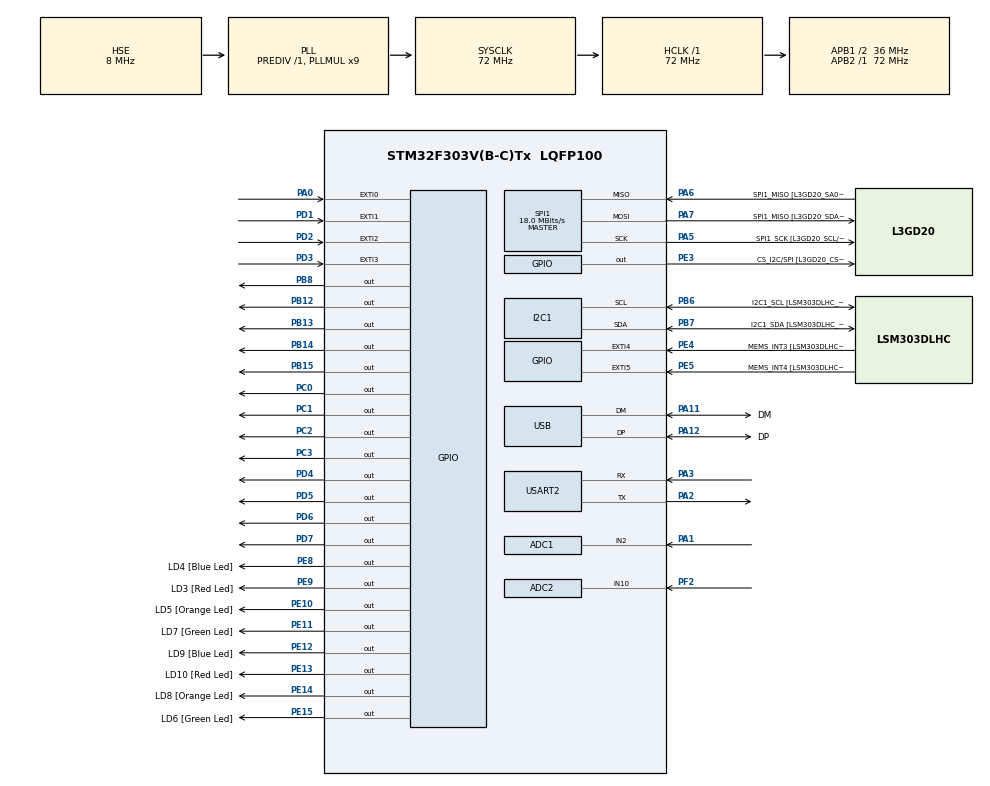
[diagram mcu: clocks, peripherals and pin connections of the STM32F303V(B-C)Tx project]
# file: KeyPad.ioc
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ADC1.Channel-0\#ChannelRegularConversion=ADC_CHANNEL_2
ADC1.ClockPrescaler=ADC_CLOCK_ASYNC_DIV1
ADC1.ContinuousConvMode=DISABLE
ADC1.DMAContinuousRequests=DISABLE
ADC1.DataAlign=ADC_DATAALIGN_RIGHT
ADC1.DiscontinuousConvMode=DISABLE
ADC1.EOCSelection=ADC_EOC_SINGLE_CONV
ADC1.EnableAnalogWatchDog1=false
ADC1.EnableAnalogWatchDog2=false
ADC1.EnableAnalogWatchDog3=false
ADC1.EnableInjectedConversion=ENABLE
ADC1.EnableRegularConversion=ENABLE
ADC1.ExternalTrigConv=ADC_SOFTWARE_START
ADC1.ExternalTrigConvEdge=ADC_EXTERNALTRIGCONVEDGE_NONE
ADC1.InjNumberOfConversion=0
ADC1.LowPowerAutoWait=DISABLE
ADC1.NbrOfConversion=1
ADC1.NbrOfConversionFlag=1
ADC1.Offset-0\#ChannelRegularConversion=0
ADC1.OffsetNumber-0\#ChannelRegularConversion=ADC_OFFSET_NONE
ADC1.Overrun=ADC_OVR_DATA_OVERWRITTEN
ADC1.Rank-0\#ChannelRegularConversion=1
ADC1.Resolution=ADC_RESOLUTION_6B
ADC1.SamplingTime-0\#ChannelRegularConversion=ADC_SAMPLETIME_601CYCLES_5
ADC1.ScanConvMode=ADC_SCAN_DISABLE
ADC1.master=1
ADC2.Channel-0\#ChannelRegularConversion=ADC_CHANNEL_10
ADC2.NbrOfConversionFlag=1
ADC2.Offset-0\#ChannelRegularConversion=0
ADC2.OffsetNumber-0\#ChannelRegularConversion=ADC_OFFSET_NONE
ADC2.Rank-0\#ChannelRegularConversion=1
ADC2.SamplingTime-0\#ChannelRegularConversion=ADC_SAMPLETIME_1CYCLE_5
I2C1.Timing-I2C=0x2000090E
Mcu.Family=STM32F3
Mcu.Name=STM32F303V(B-C)Tx
Mcu.Package=LQFP100
NVIC.EXTI0_IRQn=true\:2\:1\:true\:false\:true\:true
NVIC.EXTI1_IRQn=true\:2\:1\:true\:false\:true\:true
NVIC.EXTI2_TSC_IRQn=true\:2\:1\:true\:false\:true\:true
NVIC.EXTI3_IRQn=true\:2\:1\:true\:false\:true\:true
NVIC.PriorityGroup=NVIC_PRIORITYGROUP_2
NVIC.TIM2_IRQn=true\:2\:2\:true\:false\:true\:true
NVIC.TIM4_IRQn=true\:1\:0\:true\:false\:true\:true
NVIC.USART2_IRQn=true\:0\:0\:true\:false\:true\:true
PA0.GPIO_PuPd=GPIO_PULLDOWN
PA0.Signal=GPXTI0
PA1.Mode=IN2-Single-Ended
PA1.Signal=ADC1_IN2
PA11.GPIO_Label=DM
PA11.Mode=Device
PA11.Signal=USB_DM
PA12.GPIO_Label=DP
PA12.Mode=Device
PA12.Signal=USB_DP
PA13.GPIO_Label=SWDIO
PA13.Mode=Serial_Wire
PA13.Signal=SYS_JTMS-SWDIO
PA14.GPIO_Label=SWCLK
PA14.Mode=Serial_Wire
PA14.Signal=SYS_JTCK-SWCLK
PA2.Mode=Asynchronous
PA2.Signal=USART2_TX
PA3.Mode=Asynchronous
PA3.Signal=USART2_RX
PA5.GPIO_Label=SPI1_SCK [L3GD20_SCL/SPC]
PA5.Mode=Full_Duplex_Master
PA5.Signal=SPI1_SCK
PA6.GPIO_Label=SPI1_MISO [L3GD20_SA0/SDO]
PA6.Mode=Full_Duplex_Master
PA6.Signal=SPI1_MISO
PA7.GPIO_Label=SPI1_MISO [L3GD20_SDA/SDI/SDO]
PA7.Mode=Full_Duplex_Master
PA7.Signal=SPI1_MOSI
PB12.Signal=GPIO_Output
PB13.Signal=GPIO_Output
PB14.Signal=GPIO_Output
PB15.Signal=GPIO_Output
PB3.GPIO_Label=SWO
PB3.Signal=SYS_JTDO-TRACESWO
PB6.GPIO_Label=I2C1_SCL [LSM303DLHC_SCL]
PB6.Mode=I2C
PB6.Signal=I2C1_SCL
PB7.GPIO_Label=I2C1_SDA [LSM303DLHC_SDA]
PB7.Mode=I2C
PB7.Signal=I2C1_SDA
PB8.Signal=GPIO_Output
PC0.Signal=GPIO_Output
PC1.Signal=GPIO_Output
PC14-OSC32_IN.GPIO_Label=OSC32_IN
PC14-OSC32_IN.Signal=RCC_OSC32_IN
PC15-OSC32_OUT.GPIO_Label=OSC32_OUT
PC15-OSC32_OUT.Signal=RCC_OSC32_OUT
PC2.Signal=GPIO_Output
PC3.Signal=GPIO_Output
PD1.GPIO_PuPd=GPIO_PULLDOWN
PD1.Signal=GPXTI1
PD2.GPIO_PuPd=GPIO_PULLDOWN
PD2.Signal=GPXTI2
PD3.GPIO_PuPd=GPIO_PULLDOWN
PD3.Signal=GPXTI3
PD4.GPIO_PuPd=GPIO_NOPULL
PD4.GPIO_Speed=GPIO_SPEED_FREQ_LOW
PD4.PinState=GPIO_PIN_SET
PD4.Signal=GPIO_Output
PD5.PinState=GPIO_PIN_SET
PD5.Signal=GPIO_Output
PD6.PinState=GPIO_PIN_SET
PD6.Signal=GPIO_Output
PD7.PinState=GPIO_PIN_SET
PD7.Signal=GPIO_Output
PE10.GPIO_Label=LD5 [Orange Led]
PE10.Signal=GPIO_Output
PE11.GPIO_Label=LD7 [Green Led]
PE11.Signal=GPIO_Output
PE12.GPIO_Label=LD9 [Blue Led]
PE12.Signal=GPIO_Output
PE13.GPIO_Label=LD10 [Red Led]
PE13.Signal=GPIO_Output
PE14.GPIO_Label=LD8 [Orange Led]
PE14.Signal=GPIO_Output
PE15.GPIO_Label=LD6 [Green Led]
PE15.Signal=GPIO_Output
PE3.GPIO_Label=CS_I2C/SPI [L3GD20_CS_I2C/SPI]
PE3.Signal=GPIO_Output
PE4.GPIO_Label=MEMS_INT3 [LSM303DLHC_INT1]
PE4.GPIO_ModeDefaultEXTI=GPIO_MODE_EVT_RISING
PE4.Signal=GPXTI4
PE5.GPIO_Label=MEMS_INT4 [LSM303DLHC_INT2]
PE5.GPIO_ModeDefaultEXTI=GPIO_MODE_EVT_RISING
PE5.Signal=GPXTI5
PE8.GPIO_Label=LD4 [Blue Led]
PE8.Signal=GPIO_Output
PE9.GPIO_Label=LD3 [Red Led]
PE9.Signal=GPIO_Output
PF0-OSC_IN.GPIO_Label=OSC_IN
PF0-OSC_IN.Mode=HSE-External-Clock-Source
PF0-OSC_IN.Signal=RCC_OSC_IN
PF1-OSC_OUT.GPIO_Label=OSC_OUT
PF1-OSC_OUT.Signal=RCC_OSC_OUT
PF2.Signal=ADCx_IN10
ProjectManager.HeapSize=0x200
ProjectManager.StackSize=0x400
ProjectManager.TargetToolchain=MDK-ARM V5
RCC.AHBFreq_Value=72000000
RCC.APB1CLKDivider=RCC_HCLK_DIV2
RCC.APB1Freq_Value=36000000
RCC.APB1TimFreq_Value=72000000
RCC.APB2Freq_Value=72000000
RCC.APB2TimFreq_Value=72000000
RCC.CortexFreq_Value=72000000
RCC.HCLKFreq_Value=72000000
RCC.HSE_VALUE=8000000
RCC.HSI_VALUE=8000000
RCC.LSE_VALUE=32768
RCC.PLLMUL=RCC_PLL_MUL9
RCC.PRESCALERUSB=RCC_USBCLKSOURCE_PLL_DIV1_5
RCC.SYSCLKFreq_VALUE=72000000
RCC.SYSCLKSourceVirtual=RCC_SYSCLKSOURCE_PLLCLK
RCC.USBFreq_Value=48000000
SH.ADCx_IN10.0=ADC2_IN10,IN10-Single-Ended
SPI1.BaudRatePrescaler=SPI_BAUDRATEPRESCALER_4
SPI1.BaudRatePrescaler-Full_Duplex_Master=SPI_BAUDRATEPRESCALER_2
SPI1.CalculateBaudRate=18.0 MBits/s
SPI1.CalculateBaudRate-Full_Duplex_Master=24.0 MBits/s
SPI1.Direction=SPI_DIRECTION_2LINES
SPI1.Mode=SPI_MODE_MASTER
SPI1.Mode-Full_Duplex_Master=SPI_MODE_MASTER
SPI1.VirtualType=VM_MASTER
TIM2.Period=15999
TIM2.Prescaler=899
TIM4.Period=79
TIM4.Prescaler=89
USART2.Parity=PARITY_EVEN
USART2.StopBits=STOPBITS_2
USART2.VirtualMode-Asynchronous=VM_ASYNC
USART2.WordLength=WORDLENGTH_9B
VP_TIM2_VS_ClockSourceINT.Mode=Internal
VP_TIM4_VS_ClockSourceINT.Mode=Internal
board=STM32F3DISCOVERY

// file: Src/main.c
/**
  ******************************************************************************
  * @file           : main.c
  * @brief          : Main program body
  ******************************************************************************
  ** This notice applies to any and all portions of this file
  * that are not between comment pairs USER CODE BEGIN and
  * USER CODE END. Other portions of this file, whether
  * inserted by the user or by software development tools
  * are owned by their respective copyright owners.
  *
  * COPYRIGHT(c) 2020 STMicroelectronics
  *
  * Redistribution and use in source and binary forms, with or without modification,
  * are permitted provided that the following conditions are met:
  *   1. Redistributions of source code must retain the above copyright notice,
  *      this list of conditions and the following disclaimer.
  *   2. Redistributions in binary form must reproduce the above copyright notice,
  *      this list of conditions and the following disclaimer in the documentation
  *      and/or other materials provided with the distribution.
  *   3. Neither the name of STMicroelectronics nor the names of its contributors
  *      may be used to endorse or promote products derived from this software
  *      without specific prior written permission.
  *
  * THIS SOFTWARE IS PROVIDED BY THE COPYRIGHT HOLDERS AND CONTRIBUTORS "AS IS"
  * AND ANY EXPRESS OR IMPLIED WARRANTIES, INCLUDING, BUT NOT LIMITED TO, THE
  * IMPLIED WARRANTIES OF MERCHANTABILITY AND FITNESS FOR A PARTICULAR PURPOSE ARE
  * DISCLAIMED. IN NO EVENT SHALL THE COPYRIGHT HOLDER OR CONTRIBUTORS BE LIABLE
  * FOR ANY DIRECT, INDIRECT, INCIDENTAL, SPECIAL, EXEMPLARY, OR CONSEQUENTIAL
  * DAMAGES (INCLUDING, BUT NOT LIMITED TO, PROCUREMENT OF SUBSTITUTE GOODS OR
  * SERVICES; LOSS OF USE, DATA, OR PROFITS; OR BUSINESS INTERRUPTION) HOWEVER
  * CAUSED AND ON ANY THEORY OF LIABILITY, WHETHER IN CONTRACT, STRICT LIABILITY,
  * OR TORT (INCLUDING NEGLIGENCE OR OTHERWISE) ARISING IN ANY WAY OUT OF THE USE
  * OF THIS SOFTWARE, EVEN IF ADVISED OF THE POSSIBILITY OF SUCH DAMAGE.
  *
  ******************************************************************************
  */
#include "main.h"
#include "stm32f3xx_hal.h"

/* USER CODE BEGIN Includes */
#include <string.h>
#include "LiquidCrystal.h"
#include "microdelay.h"
/* USER CODE END Includes */

ADC_HandleTypeDef hadc1;
ADC_HandleTypeDef hadc2;

I2C_HandleTypeDef hi2c1;

SPI_HandleTypeDef hspi1;

TIM_HandleTypeDef htim2;
TIM_HandleTypeDef htim4;

UART_HandleTypeDef huart2;

PCD_HandleTypeDef hpcd_USB_FS;

/* USER CODE BEGIN PV */
/* Private variables ---------------------------------------------------------*/
uint8_t data;
char text[200];
int count = 0;

uint16_t led[] = {
	GPIO_PIN_9,
	GPIO_PIN_8,
	GPIO_PIN_15,
	GPIO_PIN_14,
	GPIO_PIN_13,
	GPIO_PIN_12,
	GPIO_PIN_11,
	GPIO_PIN_10
};

uint16_t pins[] = {
	GPIO_PIN_7,
	GPIO_PIN_6,
	GPIO_PIN_5,
	GPIO_PIN_4
};

char keys[4][4] = {
	{'x', '*', ' ', '#'},
	{'x', '7', '8', '9'},
	{'x', '4', '5', '6'},
	{'x', '1', '2', '3'}
};

int clickCursor = 0;
int clickLast = -1;
int clickTimer = 0;
int clickCount = 0;
char keyPlace[4][4] = {
	{0, 9, 10, 11},
	{0, 6, 7, 8},
	{0, 3, 4, 5},
	{0, 0, 1, 2}
};

char lets[][5] = {
	{'1', ' ', ' ', ' ', ' '},
	{'a', 'b', 'c', '2', ' '},
	{'d', 'e', 'f', '3', ' '},

	{'g', 'h', 'i', '4', ' '},
	{'j', 'k', 'l', '5', ' '},
	{'m', 'n', 'o', '6', ' '},

	{'p', 'q', 'r', 's', '7'},
	{'t', 'u', 'v', '8', ' '},
	{'w', 'x', 'y', 'z', '9'},

	{'*', '+', ' ', ' ', ' '},
	{'0', ' ', ' ', ' ', ' '},
	{'#', ' ', ' ', ' ', ' '}

};

int letCount[12] = {1, 4, 4,		 4, 4, 4,		 5, 4, 5,		 2, 2, 1};

uint16_t bcdPins[] = {
	GPIO_PIN_0,
	GPIO_PIN_1,
	GPIO_PIN_2,
	GPIO_PIN_3
};

uint8_t airplane[] = {
  0x06,
  0x04,
  0x0D,
  0x1F,
  0x1F,
  0x0D,
  0x04,
  0x06
};

uint8_t gas[] = {
  0x00,
  0x00,
  0x1F,
  0x1F,
  0x0B,
  0x0F,
  0x00,
  0x00
};

uint8_t normalBomb[] = {
  0x00,
  0x0A,
  0x1F,
  0x11,
  0x11,
  0x1F,
  0x0A,
  0x00
};

uint8_t deathlyBomb[] = {
  0x15,
  0x0E,
  0x1F,
  0x15,
  0x15,
  0x1F,
  0x0E,
  0x15
};

uint8_t explotion[] = {
  0x13,
  0x1A,
  0x0E,
  0x1F,
  0x0E,
  0x17,
  0x0A,
  0x11
};

uint8_t drop[] = {
  0x00,
  0x04,
  0x0E,
  0x0E,
  0x1F,
  0x1F,
  0x0E,
  0x00
};

uint8_t skull[] = {
  0x00,
  0x06,
  0x19,
  0x17,
  0x17,
  0x19,
  0x06,
  0x00
};

const int MATCH_LEN = 105;
const int SEG_LEN = 40;
uint8_t allMap[MATCH_LEN][4] = {0};

uint8_t map[4][20] = {
	{0, 0, 0, 1, 0, 0, 0, 3, 0, 0, 0, 0, 2, 0, 0, 3, 0, 0, 0, 0},
	{0, 0, 0, 0, 0, 0, 0, 0, 0, 0, 0, 0, 2, 0, 0, 0, 3, 0, 0, 0},
	{0, 0, 0, 2, 0, 0, 2, 0, 0, 3, 0, 0, 0, 0, 0, 0, 0, 0, 0, 0},
	{0, 0, 0, 0, 0, 0, 1, 0, 0, 0, 0, 0, 0, 0, 0, 0, 2, 0, 0, 0}
};

uint8_t omap[4][20] = {
	{0, 0, 0, 0, 0, 0, 0, 0, 0, 0, 0, 0, 0, 0, 0, 0, 0, 0, 0, 0},
	{0, 0, 0, 0, 0, 0, 0, 0, 0, 0, 0, 0, 0, 0, 0, 0, 0, 0, 0, 0},
	{0, 0, 0, 0, 0, 0, 0, 0, 0, 0, 0, 0, 0, 0, 0, 0, 0, 0, 0, 0},
	{0, 0, 0, 0, 0, 0, 0, 0, 0, 0, 0, 0, 0, 0, 0, 0, 0, 0, 0, 0}
};

int option = 0;
int level = 1;
int state = 0;
int lp = 20;
int blinkC = 0;
int blinkS = -1;
int started = 0;

int fuel = 8;

int keyState = 0;
int frame = 9000;

int speed = 0;
int maxSpeed = 400;
int engine = 0;

int score = 0;
int coef = 0;

int x = 19, y = 1;
/* USER CODE END PV */

void SystemClock_Config(void);
static void MX_GPIO_Init(void);
static void MX_I2C1_Init(void);
static void MX_SPI1_Init(void);
static void MX_USB_PCD_Init(void);
static void MX_TIM2_Init(void);
static void MX_ADC1_Init(void);
static void MX_TIM4_Init(void);
static void MX_ADC2_Init(void);
static void MX_USART2_UART_Init(void);

/* USER CODE BEGIN PFP */
/* Private function prototypes -----------------------------------------------*/
void printScene(void);
void onCharPressed(char x);
void show(void);
void generateMap(void);
void drawAirplane(void);
void showAboutUs(void);
void printMenu(void);
void startBlinker(void);
/* USER CODE END PFP */

/* USER CODE BEGIN 0 */
void blueButton(){
	if(state == 0){
		if(option == 0){
			generateMap();
			show();
			drawAirplane();
			state = 1;
		}else if(option == 1){
			state = 4;
			startBlinker();
		}else if(option == 2){
			showAboutUs();
			state = 2;
		}
		option = 0;
	}else if(state == 1){
		started = 1;
		engine = 1;
	}else if(state == 2){
		state = 0;
		printMenu();
	}
}

void HAL_UART_RxCpltCallback(UART_HandleTypeDef *huart)
{
	HAL_UART_Receive_IT(&huart2, &data, sizeof(char));
	if(huart->Instance == USART2){
		text[count] = data;
		if(data == 'E'){
			setCursor(0, 0);
			text[count] = 0;
			if(text[0] == 'M'){
				onCharPressed(text[1]);
			}else if(text[0] == 'S'){
				blueButton();
			}

			count = 0;
		}else{
			count++;
			if(count > 200){
				count = 0;
			}
		}
	}
}

void setup() {
  createChar(0, airplane);
  createChar(1, gas);
  createChar(2, normalBomb);
  createChar(3, deathlyBomb);
	createChar(4, explotion);
	createChar(5, skull);
}

int myrand(){
		HAL_ADC_Start(&hadc2);
		int r = HAL_ADC_GetValue(&hadc2);
		return r;
}

void HAL_GPIO_EXTI_Callback(uint16_t GPIO_Pin)
{
	if(HAL_GPIO_ReadPin(GPIOA, GPIO_PIN_0) && GPIO_Pin == GPIO_PIN_0){
		blueButton();
	}
	else if(HAL_GPIO_ReadPin(GPIOD, GPIO_Pin) && keyState == 0){
		keyState = 1;
		int col = 0, row = 0;
		if(GPIO_Pin == GPIO_PIN_1){
			col = 1;
		}else if(GPIO_Pin == GPIO_PIN_2){
			col = 2;
		}else if(GPIO_Pin == GPIO_PIN_3){
			col = 3;
		}

		for(int i = 0; i < 4; i++){
			for(int j = 0; j < 4; j++){
				if(j == i){
					HAL_GPIO_WritePin(GPIOD, pins[j], GPIO_PIN_SET);
				}else{
					HAL_GPIO_WritePin(GPIOD, pins[j], GPIO_PIN_RESET);
				}
			}

			if(HAL_GPIO_ReadPin(GPIOD, GPIO_Pin)){
				row = i;
				break;
			}
		}

		for(int j = 0; j < 4; j++){
			HAL_GPIO_WritePin(GPIOD, pins[j], GPIO_PIN_SET);
		}

		char x = keys[row][col];

		onCharPressed(x);

		while(HAL_GPIO_ReadPin(GPIOD, GPIO_Pin));
		HAL_Delay(10);
		keyState = 0;
	}
}

void fall(){
	for(int i = 0; i < 4; i++){
		for(int j = 1; j < 20; j++){
			map[i][j] = omap[i][j-1];
		}
	}

	if(lp < MATCH_LEN){
		for(int i = 0; i < 4; i++){
			map[i][0] = allMap[lp][i];
		}
		lp++;
	}else{
		for(int i = 0; i < 4; i++){
			map[i][0] = 0;
		}
	}
}

void show(){
	int p = 0;
	for(int i = 0; i < 4; i++){
		setCursor(0, i);
		char temp[21];
		for(int j = 0; j < 20; j++){
			if(map[i][j] == 0){
				temp[p++] = ' ';
			}else{
				temp[p++] = '\0';
				if(p > 1){
					print(temp);
				}
				p = 0;
				write(map[i][j]);
			}
		}
		temp[p++] = '\0';
		if(p > 1){
			print(temp);
		}
		p = 0;
	}
}

int segNumber = 0;
void setNumber(int num){
		GPIO_PinState state[4];
		int temp = num;
		for(int i = 0; i < 4; i++){
			if(temp % 2 == 0){
				state[i] = GPIO_PIN_RESET;
			}else{
				state[i] = GPIO_PIN_SET;
			}
			temp = temp / 2;
		}

		for(int i = 0; i < 4; i++){
			if(segNumber == i){
				HAL_GPIO_WritePin(GPIOC, bcdPins[i], GPIO_PIN_SET);
			}else{
				HAL_GPIO_WritePin(GPIOC, bcdPins[i], GPIO_PIN_RESET);
			}
		}

		HAL_GPIO_WritePin(GPIOB, GPIO_PIN_12, state[0]);
		HAL_GPIO_WritePin(GPIOB, GPIO_PIN_13, state[1]);
		HAL_GPIO_WritePin(GPIOB, GPIO_PIN_14, state[2]);
		HAL_GPIO_WritePin(GPIOB, GPIO_PIN_15, state[3]);
}

void gameOver(){
	state = 6;
	startBlinker();
}

void win(){
	state = 7;
	startBlinker();
}

void setFuel(){
	if(fuel == 0){
		engine = 0;
	}else if(fuel == 1){
		for(int i = 1; i < 8; i++){
			HAL_GPIO_WritePin(GPIOE, led[i], GPIO_PIN_RESET);
		}
		HAL_GPIO_TogglePin(GPIOE, led[0]);
	}else{
		for(int i = 0; i < 8; i++){
			if(i < fuel){
				HAL_GPIO_WritePin(GPIOE, led[i], GPIO_PIN_SET);
			}else{
				HAL_GPIO_WritePin(GPIOE, led[i], GPIO_PIN_RESET);
			}
		}
	}
}

void removeAirplane(){
	setCursor(x, y);
	print(" ");
}

void drawAirplane(){
	setCursor(x, y);
	if(map[y][x] == 1){
		fuel = (fuel + 1 > 8) ? 8 : fuel + 1;
		write(0);
		map[y][x] = 0;
	}else if(map[y][x] == 2){
		fuel--;
		write(4);
		map[y][x] = 0;
	}else if(map[y][x] == 3){
		write(5);
		map[y][x] = 0;
		HAL_Delay(1000);
		gameOver();
	}else{
		write(0);
	}
}

void onRefresh(){
	if(state == 1){
		if(segNumber == 0){
			setNumber(level);
			HAL_GPIO_WritePin(GPIOB, GPIO_PIN_8, GPIO_PIN_RESET);
		}else{
			int x = speed;
			for(int i = 3; i > segNumber; i--){
				x /= 10;
			}
			x = x % 10;
			setNumber(x);
			HAL_GPIO_WritePin(GPIOB, GPIO_PIN_8, GPIO_PIN_SET);
		}
		segNumber++;
		segNumber %= 4;
	}else if(state == 0){
		for(int i = 0; i < 4; i++){
			HAL_GPIO_WritePin(GPIOC, bcdPins[i], GPIO_PIN_SET);
		}

		HAL_GPIO_WritePin(GPIOB, GPIO_PIN_12, GPIO_PIN_RESET);
		HAL_GPIO_WritePin(GPIOB, GPIO_PIN_13, GPIO_PIN_RESET);
		HAL_GPIO_WritePin(GPIOB, GPIO_PIN_14, GPIO_PIN_RESET);
		HAL_GPIO_WritePin(GPIOB, GPIO_PIN_15, GPIO_PIN_RESET);
	}
}

void onFrame(){
	if(state == 1){
		if(speed == 0){
			HAL_Delay(30);
			return;
		}

		if(frame++ < (900 / speed)){
			return;
		}
		frame = 0;

		memcpy(omap, map, 80);
		fall();

		show();
		drawAirplane();

	}
}

int accelC = 0;
void accelerate(){
	if(accelC++ < 250){
			return;
	}
	accelC = 0;

	setFuel();
	if(engine){
		HAL_ADC_Start(&hadc1);
		maxSpeed = (410.f * HAL_ADC_GetValue(&hadc1)) / 63;
		maxSpeed = (maxSpeed < 0) ? 0 : maxSpeed;
		maxSpeed += 90;

		speed = (maxSpeed > (speed + 1)) ? (speed + 1) : maxSpeed;
	}else{
		speed = (0 > (speed - 1)) ? 0 : speed - 1;
	}

	if(speed == 0 && engine == 0 && started == 1){
		gameOver();
	}
}

void startBlinker(){
	clear();
	blinkS = -1;
	blinkC = 999999;
}

void blinker(){
	if(blinkC++ < ((blinkS == 1) ? 15000 : 5000)){
		return;
	}
	blinkC = 0;
	blinkS *= -1;

	if(state == 4){
			if(blinkS == 1){
				setCursor(0, 0);
				print("Waiting For Data...");
			}else if(blinkS == -1){
				clear();
			}
	}else if(state == 6){
		if(blinkS == 1){
			setCursor(5, 1);
			print("Game Over");
		}else if(blinkS == -1){
			clear();
		}
	}else if(state == 7){
		if(blinkS == 1){
			setCursor(6, 1);
			print("You Won");
		}else if(blinkS == -1){
			clear();
		}
	}
}

void printMenu(){
	clear();
	setCursor(0, 0);
	print("ALIEN WAR");
	setCursor(2, 1);
	if(option == 0){
		print(">");
	}else{
		print(" ");
	}
	setCursor(4, 1);
	print("START GAME");

	setCursor(2, 2);
	if(option == 1){
		print(">");
	}else{
		print(" ");
	}
	setCursor(4, 2);
	print("LOAD  GAME");

	setCursor(2, 3);
	if(option == 2){
		print(">");
	}else{
		print(" ");
	}
	setCursor(4, 3);
	print("ABOUT");

}

void showAboutUs(){
	clear();
	setCursor(0, 0);
	print("Mobin Vahdati");
	setCursor(0, 1);
	print("Homa Habashi");
}

void onCharPressed(char ch){
	if(state == 1){
		if(ch == '*'){
			removeAirplane();
			y = (y + 1 > 3) ? 3 : y + 1;
			drawAirplane();
		}else if(ch == '#'){
			removeAirplane();
			y = (y - 1 < 0) ? 0 : y - 1;
			drawAirplane();
		}else if(ch == ' '){
			removeAirplane();
			x = (x + 1 > 19) ? 19 : x + 1;
			drawAirplane();
		}else if(ch == '8'){
			removeAirplane();
			x = (x - 1 < 1) ? 1 : x - 1;
			drawAirplane();
		}else{

		}
	}else if(state == 0){
		if(ch == ' '){
			option = (option + 1 > 2) ? 2 : option + 1;
			printMenu();
		}else if(ch == '8'){
			option = (option - 1 < 0) ? 2 : option - 1;
			printMenu();
		}
	}
}

void generateMap(){
	for(int k = 10; k < MATCH_LEN; k+=SEG_LEN){
		uint8_t temp[SEG_LEN][4] = {0};
		int fuelCount = 5 / level;
		int normalBomb = 4 * level;
		int deathlyBomb = level;

		for(int i = 0; i < fuelCount; i++){
			int x = myrand() % 4;
			int y = myrand() % SEG_LEN;
			temp[y][x] = 1;
		}

		for(int i = 0; i < normalBomb; i++){
			int x = myrand() % 4;
			int y = myrand() % SEG_LEN;
			temp[y][x] = 2;
		}

		for(int i = 0; i < deathlyBomb; i++){
			int x = myrand() % 4;
			int y = myrand() % SEG_LEN;
			temp[y][x] = 3;
		}

		memcpy(allMap + k, temp, SEG_LEN * 4);
	}

	for(int i = 0; i < 20; i++){
		for(int j = 0; j < 4; j++){
			map[j][i] = allMap[19 - i][j];
		}
	}
}
/* USER CODE END 0 */

int main(void)
{

  /* MCU Configuration----------------------------------------------------------*/

  /* Reset of all peripherals, Initializes the Flash interface and the Systick. */
  HAL_Init();

  /* Configure the system clock */
  SystemClock_Config();

  /* Initialize all configured peripherals */
  MX_GPIO_Init();
  MX_I2C1_Init();
  MX_SPI1_Init();
  MX_USB_PCD_Init();
  MX_TIM2_Init();
  MX_ADC1_Init();
  MX_TIM4_Init();
  MX_ADC2_Init();
  MX_USART2_UART_Init();
  /* USER CODE BEGIN 2 */
	init_DWT();
	LiquidCrystal(GPIOD, GPIO_PIN_8,GPIO_PIN_9, GPIO_PIN_10, GPIO_PIN_11, GPIO_PIN_12, GPIO_PIN_13, GPIO_PIN_14);
	begin(20, 4);
	setup();

	printMenu();
	HAL_TIM_Base_Start_IT(&htim2);
	HAL_TIM_Base_Start_IT(&htim4);
  /* USER CODE END 2 */

  /* Infinite loop */
  /* USER CODE BEGIN WHILE */
	HAL_GPIO_WritePin(GPIOD, GPIO_PIN_4, GPIO_PIN_SET);
	HAL_GPIO_WritePin(GPIOD, GPIO_PIN_5, GPIO_PIN_SET);
	HAL_GPIO_WritePin(GPIOD, GPIO_PIN_6, GPIO_PIN_SET);
	HAL_GPIO_WritePin(GPIOD, GPIO_PIN_7, GPIO_PIN_SET);

	unsigned char text[] = "Hello\n";

	HAL_UART_Transmit(&huart2, text, sizeof(unsigned char) * 6, 1000);
	HAL_UART_Receive_IT(&huart2, &data, sizeof(char));

  while (1)
  {
  /* USER CODE END WHILE */

  }

}

void SystemClock_Config(void)
{

  RCC_OscInitTypeDef RCC_OscInitStruct;
  RCC_ClkInitTypeDef RCC_ClkInitStruct;
  RCC_PeriphCLKInitTypeDef PeriphClkInit;

    /**Initializes the CPU, AHB and APB busses clocks
    */
  RCC_OscInitStruct.OscillatorType = RCC_OSCILLATORTYPE_HSI|RCC_OSCILLATORTYPE_HSE;
  RCC_OscInitStruct.HSEState = RCC_HSE_BYPASS;
  RCC_OscInitStruct.HSEPredivValue = RCC_HSE_PREDIV_DIV1;
  RCC_OscInitStruct.HSIState = RCC_HSI_ON;
  RCC_OscInitStruct.HSICalibrationValue = 16;
  RCC_OscInitStruct.PLL.PLLState = RCC_PLL_ON;
  RCC_OscInitStruct.PLL.PLLSource = RCC_PLLSOURCE_HSE;
  RCC_OscInitStruct.PLL.PLLMUL = RCC_PLL_MUL9;
  if (HAL_RCC_OscConfig(&RCC_OscInitStruct) != HAL_OK)
  {
    _Error_Handler(__FILE__, __LINE__);
  }

    /**Initializes the CPU, AHB and APB busses clocks
    */
  RCC_ClkInitStruct.ClockType = RCC_CLOCKTYPE_HCLK|RCC_CLOCKTYPE_SYSCLK
                              |RCC_CLOCKTYPE_PCLK1|RCC_CLOCKTYPE_PCLK2;
  RCC_ClkInitStruct.SYSCLKSource = RCC_SYSCLKSOURCE_PLLCLK;
  RCC_ClkInitStruct.AHBCLKDivider = RCC_SYSCLK_DIV1;
  RCC_ClkInitStruct.APB1CLKDivider = RCC_HCLK_DIV2;
  RCC_ClkInitStruct.APB2CLKDivider = RCC_HCLK_DIV1;

  if (HAL_RCC_ClockConfig(&RCC_ClkInitStruct, FLASH_LATENCY_2) != HAL_OK)
  {
    _Error_Handler(__FILE__, __LINE__);
  }

  PeriphClkInit.PeriphClockSelection = RCC_PERIPHCLK_USB|RCC_PERIPHCLK_USART2
                              |RCC_PERIPHCLK_I2C1|RCC_PERIPHCLK_ADC12;
  PeriphClkInit.Usart2ClockSelection = RCC_USART2CLKSOURCE_PCLK1;
  PeriphClkInit.Adc12ClockSelection = RCC_ADC12PLLCLK_DIV1;
  PeriphClkInit.I2c1ClockSelection = RCC_I2C1CLKSOURCE_HSI;
  PeriphClkInit.USBClockSelection = RCC_USBCLKSOURCE_PLL_DIV1_5;
  if (HAL_RCCEx_PeriphCLKConfig(&PeriphClkInit) != HAL_OK)
  {
    _Error_Handler(__FILE__, __LINE__);
  }

    /**Configure the Systick interrupt time
    */
  HAL_SYSTICK_Config(HAL_RCC_GetHCLKFreq()/1000);

    /**Configure the Systick
    */
  HAL_SYSTICK_CLKSourceConfig(SYSTICK_CLKSOURCE_HCLK);

  /* SysTick_IRQn interrupt configuration */
  HAL_NVIC_SetPriority(SysTick_IRQn, 0, 0);
}

/* ADC1 init function */
static void MX_ADC1_Init(void)
{

  ADC_MultiModeTypeDef multimode;
  ADC_ChannelConfTypeDef sConfig;

    /**Common config
    */
  hadc1.Instance = ADC1;
  hadc1.Init.ClockPrescaler = ADC_CLOCK_ASYNC_DIV1;
  hadc1.Init.Resolution = ADC_RESOLUTION_6B;
  hadc1.Init.ScanConvMode = ADC_SCAN_DISABLE;
  hadc1.Init.ContinuousConvMode = DISABLE;
  hadc1.Init.DiscontinuousConvMode = DISABLE;
  hadc1.Init.ExternalTrigConvEdge = ADC_EXTERNALTRIGCONVEDGE_NONE;
  hadc1.Init.ExternalTrigConv = ADC_SOFTWARE_START;
  hadc1.Init.DataAlign = ADC_DATAALIGN_RIGHT;
  hadc1.Init.NbrOfConversion = 1;
  hadc1.Init.DMAContinuousRequests = DISABLE;
  hadc1.Init.EOCSelection = ADC_EOC_SINGLE_CONV;
  hadc1.Init.LowPowerAutoWait = DISABLE;
  hadc1.Init.Overrun = ADC_OVR_DATA_OVERWRITTEN;
  if (HAL_ADC_Init(&hadc1) != HAL_OK)
  {
    _Error_Handler(__FILE__, __LINE__);
  }

    /**Configure the ADC multi-mode
    */
  multimode.Mode = ADC_MODE_INDEPENDENT;
  if (HAL_ADCEx_MultiModeConfigChannel(&hadc1, &multimode) != HAL_OK)
  {
    _Error_Handler(__FILE__, __LINE__);
  }

    /**Configure Regular Channel
    */
  sConfig.Channel = ADC_CHANNEL_2;
  sConfig.Rank = ADC_REGULAR_RANK_1;
  sConfig.SingleDiff = ADC_SINGLE_ENDED;
  sConfig.SamplingTime = ADC_SAMPLETIME_601CYCLES_5;
  sConfig.OffsetNumber = ADC_OFFSET_NONE;
  sConfig.Offset = 0;
  if (HAL_ADC_ConfigChannel(&hadc1, &sConfig) != HAL_OK)
  {
    _Error_Handler(__FILE__, __LINE__);
  }

}

/* ADC2 init function */
static void MX_ADC2_Init(void)
{

  ADC_ChannelConfTypeDef sConfig;

    /**Common config
    */
  hadc2.Instance = ADC2;
  hadc2.Init.ClockPrescaler = ADC_CLOCK_ASYNC_DIV1;
  hadc2.Init.Resolution = ADC_RESOLUTION_12B;
  hadc2.Init.ScanConvMode = ADC_SCAN_DISABLE;
  hadc2.Init.ContinuousConvMode = DISABLE;
  hadc2.Init.DiscontinuousConvMode = DISABLE;
  hadc2.Init.ExternalTrigConvEdge = ADC_EXTERNALTRIGCONVEDGE_NONE;
  hadc2.Init.ExternalTrigConv = ADC_SOFTWARE_START;
  hadc2.Init.DataAlign = ADC_DATAALIGN_RIGHT;
  hadc2.Init.NbrOfConversion = 1;
  hadc2.Init.DMAContinuousRequests = DISABLE;
  hadc2.Init.EOCSelection = ADC_EOC_SINGLE_CONV;
  hadc2.Init.LowPowerAutoWait = DISABLE;
  hadc2.Init.Overrun = ADC_OVR_DATA_OVERWRITTEN;
  if (HAL_ADC_Init(&hadc2) != HAL_OK)
  {
    _Error_Handler(__FILE__, __LINE__);
  }

    /**Configure Regular Channel
    */
  sConfig.Channel = ADC_CHANNEL_10;
  sConfig.Rank = ADC_REGULAR_RANK_1;
  sConfig.SingleDiff = ADC_SINGLE_ENDED;
  sConfig.SamplingTime = ADC_SAMPLETIME_1CYCLE_5;
  sConfig.OffsetNumber = ADC_OFFSET_NONE;
  sConfig.Offset = 0;
  if (HAL_ADC_ConfigChannel(&hadc2, &sConfig) != HAL_OK)
  {
    _Error_Handler(__FILE__, __LINE__);
  }

}

/* I2C1 init function */
static void MX_I2C1_Init(void)
{

  hi2c1.Instance = I2C1;
  hi2c1.Init.Timing = 0x2000090E;
  hi2c1.Init.OwnAddress1 = 0;
  hi2c1.Init.AddressingMode = I2C_ADDRESSINGMODE_7BIT;
  hi2c1.Init.DualAddressMode = I2C_DUALADDRESS_DISABLE;
  hi2c1.Init.OwnAddress2 = 0;
  hi2c1.Init.OwnAddress2Masks = I2C_OA2_NOMASK;
  hi2c1.Init.GeneralCallMode = I2C_GENERALCALL_DISABLE;
  hi2c1.Init.NoStretchMode = I2C_NOSTRETCH_DISABLE;
  if (HAL_I2C_Init(&hi2c1) != HAL_OK)
  {
    _Error_Handler(__FILE__, __LINE__);
  }

    /**Configure Analogue filter
    */
  if (HAL_I2CEx_ConfigAnalogFilter(&hi2c1, I2C_ANALOGFILTER_ENABLE) != HAL_OK)
  {
    _Error_Handler(__FILE__, __LINE__);
  }

    /**Configure Digital filter
    */
  if (HAL_I2CEx_ConfigDigitalFilter(&hi2c1, 0) != HAL_OK)
  {
    _Error_Handler(__FILE__, __LINE__);
  }

}

/* SPI1 init function */
static void MX_SPI1_Init(void)
{

  /* SPI1 parameter configuration*/
  hspi1.Instance = SPI1;
  hspi1.Init.Mode = SPI_MODE_MASTER;
  hspi1.Init.Direction = SPI_DIRECTION_2LINES;
  hspi1.Init.DataSize = SPI_DATASIZE_4BIT;
  hspi1.Init.CLKPolarity = SPI_POLARITY_LOW;
  hspi1.Init.CLKPhase = SPI_PHASE_1EDGE;
  hspi1.Init.NSS = SPI_NSS_SOFT;
  hspi1.Init.BaudRatePrescaler = SPI_BAUDRATEPRESCALER_4;
  hspi1.Init.FirstBit = SPI_FIRSTBIT_MSB;
  hspi1.Init.TIMode = SPI_TIMODE_DISABLE;
  hspi1.Init.CRCCalculation = SPI_CRCCALCULATION_DISABLE;
  hspi1.Init.CRCPolynomial = 7;
  hspi1.Init.CRCLength = SPI_CRC_LENGTH_DATASIZE;
  hspi1.Init.NSSPMode = SPI_NSS_PULSE_ENABLE;
  if (HAL_SPI_Init(&hspi1) != HAL_OK)
  {
    _Error_Handler(__FILE__, __LINE__);
  }

}

/* TIM2 init function */
static void MX_TIM2_Init(void)
{

  TIM_ClockConfigTypeDef sClockSourceConfig;
  TIM_MasterConfigTypeDef sMasterConfig;

  htim2.Instance = TIM2;
  htim2.Init.Prescaler = 899;
  htim2.Init.CounterMode = TIM_COUNTERMODE_UP;
  htim2.Init.Period = 15999;
  htim2.Init.ClockDivision = TIM_CLOCKDIVISION_DIV1;
  htim2.Init.AutoReloadPreload = TIM_AUTORELOAD_PRELOAD_DISABLE;
  if (HAL_TIM_Base_Init(&htim2) != HAL_OK)
  {
    _Error_Handler(__FILE__, __LINE__);
  }

  sClockSourceConfig.ClockSource = TIM_CLOCKSOURCE_INTERNAL;
  if (HAL_TIM_ConfigClockSource(&htim2, &sClockSourceConfig) != HAL_OK)
  {
    _Error_Handler(__FILE__, __LINE__);
  }

  sMasterConfig.MasterOutputTrigger = TIM_TRGO_RESET;
  sMasterConfig.MasterSlaveMode = TIM_MASTERSLAVEMODE_DISABLE;
  if (HAL_TIMEx_MasterConfigSynchronization(&htim2, &sMasterConfig) != HAL_OK)
  {
    _Error_Handler(__FILE__, __LINE__);
  }

}

/* TIM4 init function */
static void MX_TIM4_Init(void)
{

  TIM_ClockConfigTypeDef sClockSourceConfig;
  TIM_MasterConfigTypeDef sMasterConfig;

  htim4.Instance = TIM4;
  htim4.Init.Prescaler = 89;
  htim4.Init.CounterMode = TIM_COUNTERMODE_UP;
  htim4.Init.Period = 79;
  htim4.Init.ClockDivision = TIM_CLOCKDIVISION_DIV1;
  htim4.Init.AutoReloadPreload = TIM_AUTORELOAD_PRELOAD_DISABLE;
  if (HAL_TIM_Base_Init(&htim4) != HAL_OK)
  {
    _Error_Handler(__FILE__, __LINE__);
  }

  sClockSourceConfig.ClockSource = TIM_CLOCKSOURCE_INTERNAL;
  if (HAL_TIM_ConfigClockSource(&htim4, &sClockSourceConfig) != HAL_OK)
  {
    _Error_Handler(__FILE__, __LINE__);
  }

  sMasterConfig.MasterOutputTrigger = TIM_TRGO_RESET;
  sMasterConfig.MasterSlaveMode = TIM_MASTERSLAVEMODE_DISABLE;
  if (HAL_TIMEx_MasterConfigSynchronization(&htim4, &sMasterConfig) != HAL_OK)
  {
    _Error_Handler(__FILE__, __LINE__);
  }

}

/* USART2 init function */
static void MX_USART2_UART_Init(void)
{

  huart2.Instance = USART2;
  huart2.Init.BaudRate = 38400;
  huart2.Init.WordLength = UART_WORDLENGTH_9B;
  huart2.Init.StopBits = UART_STOPBITS_2;
  huart2.Init.Parity = UART_PARITY_EVEN;
  huart2.Init.Mode = UART_MODE_TX_RX;
  huart2.Init.HwFlowCtl = UART_HWCONTROL_NONE;
  huart2.Init.OverSampling = UART_OVERSAMPLING_16;
  huart2.Init.OneBitSampling = UART_ONE_BIT_SAMPLE_DISABLE;
  huart2.AdvancedInit.AdvFeatureInit = UART_ADVFEATURE_NO_INIT;
  if (HAL_UART_Init(&huart2) != HAL_OK)
  {
    _Error_Handler(__FILE__, __LINE__);
  }

}

/* USB init function */
static void MX_USB_PCD_Init(void)
{

  hpcd_USB_FS.Instance = USB;
  hpcd_USB_FS.Init.dev_endpoints = 8;
  hpcd_USB_FS.Init.speed = PCD_SPEED_FULL;
  hpcd_USB_FS.Init.ep0_mps = DEP0CTL_MPS_64;
  hpcd_USB_FS.Init.phy_itface = PCD_PHY_EMBEDDED;
  hpcd_USB_FS.Init.low_power_enable = DISABLE;
  hpcd_USB_FS.Init.battery_charging_enable = DISABLE;
  if (HAL_PCD_Init(&hpcd_USB_FS) != HAL_OK)
  {
    _Error_Handler(__FILE__, __LINE__);
  }

}

/** Configure pins as
        * Analog
        * Input
        * Output
        * EVENT_OUT
        * EXTI
        * Free pins are configured automatically as Analog (this feature is enabled through
        * the Code Generation settings)
*/
static void MX_GPIO_Init(void)
{

  GPIO_InitTypeDef GPIO_InitStruct;

  /* GPIO Ports Clock Enable */
  __HAL_RCC_GPIOE_CLK_ENABLE();
  __HAL_RCC_GPIOC_CLK_ENABLE();
  __HAL_RCC_GPIOF_CLK_ENABLE();
  __HAL_RCC_GPIOA_CLK_ENABLE();
  __HAL_RCC_GPIOB_CLK_ENABLE();
  __HAL_RCC_GPIOD_CLK_ENABLE();

  /*Configure GPIO pin Output Level */
  HAL_GPIO_WritePin(GPIOE, CS_I2C_SPI_Pin|LD4_Pin|LD3_Pin|LD5_Pin
                          |LD7_Pin|LD9_Pin|LD10_Pin|LD8_Pin
                          |LD6_Pin, GPIO_PIN_RESET);

  /*Configure GPIO pin Output Level */
  HAL_GPIO_WritePin(GPIOC, GPIO_PIN_0|GPIO_PIN_1|GPIO_PIN_2|GPIO_PIN_3, GPIO_PIN_RESET);

  /*Configure GPIO pin Output Level */
  HAL_GPIO_WritePin(GPIOB, GPIO_PIN_12|GPIO_PIN_13|GPIO_PIN_14|GPIO_PIN_15
                          |GPIO_PIN_8, GPIO_PIN_RESET);

  /*Configure GPIO pin Output Level */
  HAL_GPIO_WritePin(GPIOD, GPIO_PIN_4|GPIO_PIN_5|GPIO_PIN_6|GPIO_PIN_7, GPIO_PIN_SET);

  /*Configure GPIO pins : PE2 PE6 PE7 PE0
                           PE1 */
  GPIO_InitStruct.Pin = GPIO_PIN_2|GPIO_PIN_6|GPIO_PIN_7|GPIO_PIN_0
                          |GPIO_PIN_1;
  GPIO_InitStruct.Mode = GPIO_MODE_ANALOG;
  GPIO_InitStruct.Pull = GPIO_NOPULL;
  HAL_GPIO_Init(GPIOE, &GPIO_InitStruct);

  /*Configure GPIO pins : CS_I2C_SPI_Pin LD4_Pin LD3_Pin LD5_Pin
                           LD7_Pin LD9_Pin LD10_Pin LD8_Pin
                           LD6_Pin */
  GPIO_InitStruct.Pin = CS_I2C_SPI_Pin|LD4_Pin|LD3_Pin|LD5_Pin
                          |LD7_Pin|LD9_Pin|LD10_Pin|LD8_Pin
                          |LD6_Pin;
  GPIO_InitStruct.Mode = GPIO_MODE_OUTPUT_PP;
  GPIO_InitStruct.Pull = GPIO_NOPULL;
  GPIO_InitStruct.Speed = GPIO_SPEED_FREQ_LOW;
  HAL_GPIO_Init(GPIOE, &GPIO_InitStruct);

  /*Configure GPIO pins : MEMS_INT3_Pin MEMS_INT4_Pin */
  GPIO_InitStruct.Pin = MEMS_INT3_Pin|MEMS_INT4_Pin;
  GPIO_InitStruct.Mode = GPIO_MODE_EVT_RISING;
  GPIO_InitStruct.Pull = GPIO_NOPULL;
  HAL_GPIO_Init(GPIOE, &GPIO_InitStruct);

  /*Configure GPIO pins : PC13 PC4 PC5 PC6
                           PC7 PC8 PC9 PC10
                           PC11 PC12 */
  GPIO_InitStruct.Pin = GPIO_PIN_13|GPIO_PIN_4|GPIO_PIN_5|GPIO_PIN_6
                          |GPIO_PIN_7|GPIO_PIN_8|GPIO_PIN_9|GPIO_PIN_10
                          |GPIO_PIN_11|GPIO_PIN_12;
  GPIO_InitStruct.Mode = GPIO_MODE_ANALOG;
  GPIO_InitStruct.Pull = GPIO_NOPULL;
  HAL_GPIO_Init(GPIOC, &GPIO_InitStruct);

  /*Configure GPIO pins : PF9 PF10 PF4 PF6 */
  GPIO_InitStruct.Pin = GPIO_PIN_9|GPIO_PIN_10|GPIO_PIN_4|GPIO_PIN_6;
  GPIO_InitStruct.Mode = GPIO_MODE_ANALOG;
  GPIO_InitStruct.Pull = GPIO_NOPULL;
  HAL_GPIO_Init(GPIOF, &GPIO_InitStruct);

  /*Configure GPIO pins : PC0 PC1 PC2 PC3 */
  GPIO_InitStruct.Pin = GPIO_PIN_0|GPIO_PIN_1|GPIO_PIN_2|GPIO_PIN_3;
  GPIO_InitStruct.Mode = GPIO_MODE_OUTPUT_PP;
  GPIO_InitStruct.Pull = GPIO_NOPULL;
  GPIO_InitStruct.Speed = GPIO_SPEED_FREQ_LOW;
  HAL_GPIO_Init(GPIOC, &GPIO_InitStruct);

  /*Configure GPIO pin : PA0 */
  GPIO_InitStruct.Pin = GPIO_PIN_0;
  GPIO_InitStruct.Mode = GPIO_MODE_IT_RISING;
  GPIO_InitStruct.Pull = GPIO_PULLDOWN;
  HAL_GPIO_Init(GPIOA, &GPIO_InitStruct);

  /*Configure GPIO pins : PA4 PA8 PA9 PA10
                           PA15 */
  GPIO_InitStruct.Pin = GPIO_PIN_4|GPIO_PIN_8|GPIO_PIN_9|GPIO_PIN_10
                          |GPIO_PIN_15;
  GPIO_InitStruct.Mode = GPIO_MODE_ANALOG;
  GPIO_InitStruct.Pull = GPIO_NOPULL;
  HAL_GPIO_Init(GPIOA, &GPIO_InitStruct);

  /*Configure GPIO pins : PB0 PB1 PB2 PB10
                           PB11 PB4 PB5 PB9 */
  GPIO_InitStruct.Pin = GPIO_PIN_0|GPIO_PIN_1|GPIO_PIN_2|GPIO_PIN_10
                          |GPIO_PIN_11|GPIO_PIN_4|GPIO_PIN_5|GPIO_PIN_9;
  GPIO_InitStruct.Mode = GPIO_MODE_ANALOG;
  GPIO_InitStruct.Pull = GPIO_NOPULL;
  HAL_GPIO_Init(GPIOB, &GPIO_InitStruct);

  /*Configure GPIO pins : PB12 PB13 PB14 PB15
                           PB8 */
  GPIO_InitStruct.Pin = GPIO_PIN_12|GPIO_PIN_13|GPIO_PIN_14|GPIO_PIN_15
                          |GPIO_PIN_8;
  GPIO_InitStruct.Mode = GPIO_MODE_OUTPUT_PP;
  GPIO_InitStruct.Pull = GPIO_NOPULL;
  GPIO_InitStruct.Speed = GPIO_SPEED_FREQ_LOW;
  HAL_GPIO_Init(GPIOB, &GPIO_InitStruct);

  /*Configure GPIO pins : PD8 PD9 PD10 PD11
                           PD12 PD13 PD14 PD15
                           PD0 */
  GPIO_InitStruct.Pin = GPIO_PIN_8|GPIO_PIN_9|GPIO_PIN_10|GPIO_PIN_11
                          |GPIO_PIN_12|GPIO_PIN_13|GPIO_PIN_14|GPIO_PIN_15
                          |GPIO_PIN_0;
  GPIO_InitStruct.Mode = GPIO_MODE_ANALOG;
  GPIO_InitStruct.Pull = GPIO_NOPULL;
  HAL_GPIO_Init(GPIOD, &GPIO_InitStruct);

  /*Configure GPIO pins : PD1 PD2 PD3 */
  GPIO_InitStruct.Pin = GPIO_PIN_1|GPIO_PIN_2|GPIO_PIN_3;
  GPIO_InitStruct.Mode = GPIO_MODE_IT_RISING;
  GPIO_InitStruct.Pull = GPIO_PULLDOWN;
  HAL_GPIO_Init(GPIOD, &GPIO_InitStruct);

  /*Configure GPIO pins : PD4 PD5 PD6 PD7 */
  GPIO_InitStruct.Pin = GPIO_PIN_4|GPIO_PIN_5|GPIO_PIN_6|GPIO_PIN_7;
  GPIO_InitStruct.Mode = GPIO_MODE_OUTPUT_PP;
  GPIO_InitStruct.Pull = GPIO_NOPULL;
  GPIO_InitStruct.Speed = GPIO_SPEED_FREQ_LOW;
  HAL_GPIO_Init(GPIOD, &GPIO_InitStruct);

  /* EXTI interrupt init*/
  HAL_NVIC_SetPriority(EXTI0_IRQn, 2, 1);
  HAL_NVIC_EnableIRQ(EXTI0_IRQn);

  HAL_NVIC_SetPriority(EXTI1_IRQn, 2, 1);
  HAL_NVIC_EnableIRQ(EXTI1_IRQn);

  HAL_NVIC_SetPriority(EXTI2_TSC_IRQn, 2, 1);
  HAL_NVIC_EnableIRQ(EXTI2_TSC_IRQn);

  HAL_NVIC_SetPriority(EXTI3_IRQn, 2, 1);
  HAL_NVIC_EnableIRQ(EXTI3_IRQn);

}

void _Error_Handler(char *file, int line)
{
  while(1)
  {
  }
}

/************************ (C) COPYRIGHT STMicroelectronics *****END OF FILE****/
